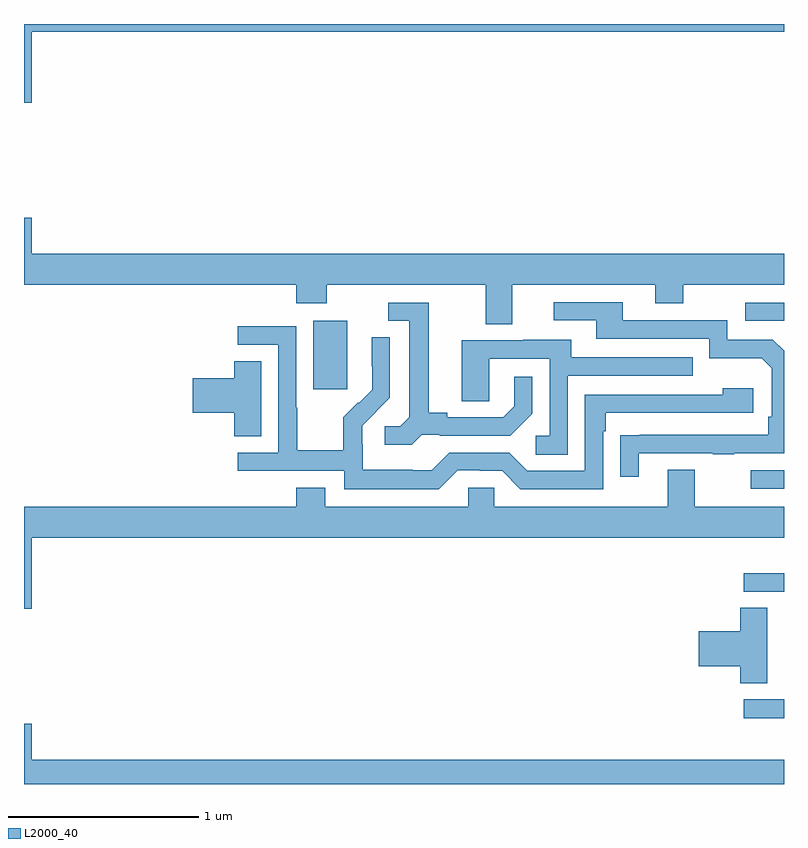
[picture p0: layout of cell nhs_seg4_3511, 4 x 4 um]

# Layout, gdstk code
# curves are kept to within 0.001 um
import gdstk
lib = gdstk.Library(unit=1e-6, precision=1e-09)
def R(c, l, rs):  # rectangles x0, y0, x1, y1
    for r in rs: c.add(gdstk.rectangle(r[:2], r[2:], *l))
def P(c, l, *ps):  # polygons
    for p in ps: c.add(gdstk.Polygon(p, *l))
L2000_40 = (2000, 40)

nhs_seg4_3511 = lib.new_cell('nhs_seg4_3511')
R(nhs_seg4_3511, L2000_40, [(300.789,753.247,301,753.345), (300.789,753.912,301,754.008), (300.825,754.455,301,754.551), (298.523,754.977,298.702,755.338), (300.795,755.337,301,755.433)])
P(nhs_seg4_3511, L2000_40, [(297.04,756.86),(301,756.86),(301,756.9),(297,756.9),(297,756.486),(297.04,756.486)],
  [(299.569,755.528),(300.323,755.528),(300.323,755.429),(300.471,755.429),(300.471,755.528),(301,755.528),(301,755.692),(297.04,755.692),(297.04,755.881),(297,755.881),(297,755.528),(298.433,755.528),(298.433,755.429),(298.593,755.429),(298.593,755.528),(299.429,755.528),(299.429,755.32),(299.569,755.32)],
  [(300.235,754.641),(300.625,754.641),(300.625,754.636),(300.737,754.636),(300.737,754.641),(301,754.641),(301,755.18),(300.942,755.238),(300.702,755.238),(300.702,755.34),(300.151,755.34),(300.151,755.436),(299.787,755.436),(299.787,755.34),(300.011,755.34),(300.011,755.244),(300.606,755.244),(300.606,755.141),(300.883,755.141),(300.936,755.088),(300.936,754.834),(300.916,754.834),(300.916,754.737),(300.139,754.736),(300.139,754.518),(300.235,754.518)],
  [(299.094,754.737),(299.188,754.737),(299.188,754.734),(299.56,754.734),(299.676,754.85),(299.676,755.044),(299.579,755.044),(299.579,754.887),(299.522,754.83),(299.227,754.83),(299.227,754.853),(299.131,754.853),(299.131,755.433),(298.917,755.433),(298.917,755.337),(299.027,755.337),(299.027,754.829),(298.98,754.782),(298.899,754.782),(298.899,754.685),(299.042,754.685)],
  [(299.283,754.551),(299.399,754.551),(299.399,754.548),(299.517,754.548),(299.613,754.452),(300.048,754.452),(300.048,754.757),(300.061,754.757),(300.061,754.854),(300.838,754.854),(300.838,754.984),(300.677,754.984),(300.677,754.95),(299.952,754.95),(299.952,754.548),(299.649,754.548),(299.553,754.644),(299.238,754.644),(299.145,754.551),(299.045,754.551),(299.045,754.555),(298.782,754.555),(298.782,754.689),(298.78,754.689),(298.78,754.786),(298.926,754.934),(298.926,755.252),(298.83,755.252),(298.83,755.098),(298.832,755.098),(298.832,754.976),(298.761,754.905),(298.758,754.908),(298.681,754.831),(298.681,754.657),(298.437,754.657),(298.437,754.88),(298.434,754.88),(298.434,755.31),(298.125,755.31),(298.125,755.211),(298.338,755.211),(298.338,754.644),(298.125,754.644),(298.125,754.548),(298.686,754.548),(298.686,754.451),(299.183,754.451)],
  [(299.862,755.049),(300.521,755.049),(300.521,755.145),(299.881,755.145),(299.881,755.239),(299.627,755.239),(299.627,755.235),(299.303,755.235),(299.303,754.915),(299.448,754.915),(299.448,755.139),(299.766,755.139),(299.766,754.734),(299.694,754.734),(299.694,754.633),(299.862,754.633)],
  [(298.249,755.126),(298.106,755.126),(298.106,755.036),(297.888,755.036),(297.888,754.853),(298.106,754.853),(298.106,754.729),(298.249,754.729)],
  [(297.04,754.196),(301,754.196),(301,754.36),(300.529,754.36),(300.529,754.555),(300.389,754.555),(300.389,754.36),(299.475,754.36),(299.475,754.458),(299.337,754.458),(299.337,754.36),(298.585,754.36),(298.585,754.459),(298.433,754.459),(298.433,754.36),(297,754.36),(297,753.822),(297.04,753.822)],
  [(300.913,753.827),(300.77,753.827),(300.77,753.704),(300.552,753.704),(300.552,753.521),(300.77,753.521),(300.77,753.43),(300.913,753.43)],
  [(301,753.028),(297.04,753.028),(297.04,753.217),(297,753.217),(297,752.9),(301,752.9)])

lib.write_gds('nhs_seg4_3511.gds')
